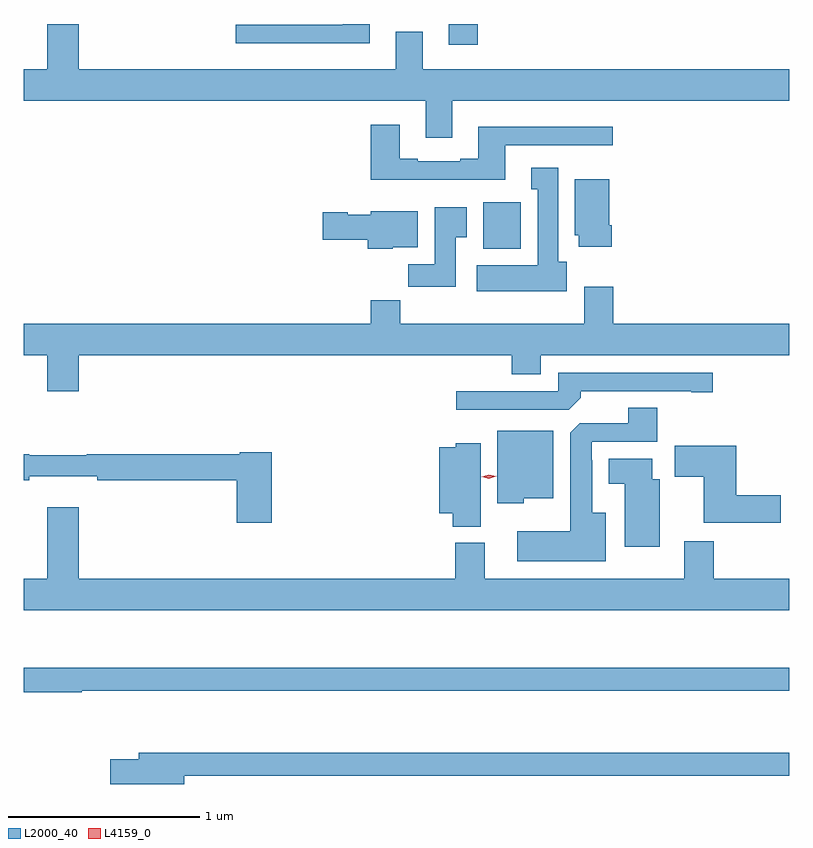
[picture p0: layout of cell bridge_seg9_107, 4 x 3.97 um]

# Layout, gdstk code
import gdstk
lib = gdstk.Library(unit=1e-6, precision=1e-09)
def R(c, l, rs):  # rectangles x0, y0, x1, y1
    for r in rs: c.add(gdstk.rectangle(r[:2], r[2:], *l))
def P(c, l, *ps):  # polygons
    for p in ps: c.add(gdstk.Polygon(p, *l))
L2000_40 = (2000, 40)
L4159_0 = (4159, 0)

bridge_seg9_107 = lib.new_cell('bridge_seg9_107')
R(bridge_seg9_107, L2000_40, [(814.637,1174.334,814.834,1174.576), (814.457,1175.4,814.61,1175.508)])
P(bridge_seg9_107, L2000_40, [(814.045,1175.508),(813.905,1175.508),(813.905,1175.505),(813.345,1175.505),(813.345,1175.408),(814.045,1175.408)],
  [(814.477,1175.108),(816.237,1175.108),(816.237,1175.272),(814.321,1175.272),(814.321,1175.467),(814.181,1175.467),(814.181,1175.272),(812.524,1175.272),(812.524,1175.508),(812.36,1175.508),(812.36,1175.272),(812.237,1175.272),(812.237,1175.108),(814.337,1175.108),(814.337,1174.914),(814.477,1174.914)],
  [(814.753,1174.875),(815.314,1174.875),(815.314,1174.972),(814.613,1174.972),(814.613,1174.804),(814.517,1174.804),(814.517,1174.791),(814.297,1174.791),(814.297,1174.804),(814.201,1174.804),(814.201,1174.981),(814.049,1174.981),(814.049,1174.694),(814.753,1174.694)],
  [(815.074,1174.266),(815.029,1174.266),(815.029,1174.756),(814.889,1174.756),(814.889,1174.643),(814.922,1174.643),(814.922,1174.246),(814.605,1174.246),(814.605,1174.112),(815.074,1174.112)],
  [(815.309,1174.456),(815.296,1174.456),(815.296,1174.696),(815.117,1174.696),(815.117,1174.404),(815.138,1174.404),(815.138,1174.344),(815.309,1174.344)],
  [(814.495,1174.393),(814.552,1174.393),(814.552,1174.549),(814.385,1174.549),(814.385,1174.252),(814.246,1174.252),(814.246,1174.134),(814.495,1174.134)],
  [(814.164,1174.34),(814.297,1174.34),(814.297,1174.528),(814.05,1174.528),(814.05,1174.51),(813.93,1174.51),(813.93,1174.523),(813.798,1174.523),(813.798,1174.381),(814.034,1174.381),(814.034,1174.334),(814.164,1174.334)],
  [(812.524,1173.776),(814.787,1173.776),(814.787,1173.677),(814.939,1173.677),(814.939,1173.776),(816.237,1173.776),(816.237,1173.94),(815.318,1173.94),(815.318,1174.135),(815.165,1174.135),(815.165,1173.94),(814.205,1173.94),(814.205,1174.064),(814.049,1174.064),(814.049,1173.94),(812.237,1173.94),(812.237,1173.776),(812.36,1173.776),(812.36,1173.588),(812.524,1173.588)],
  [(815.147,1173.554),(815.147,1173.588),(815.726,1173.588),(815.726,1173.583),(815.839,1173.583),(815.839,1173.684),(815.031,1173.684),(815.031,1173.588),(814.497,1173.588),(814.497,1173.492),(815.085,1173.492)],
  [(815.278,1172.953),(815.209,1172.953),(815.209,1173.227),(815.205,1173.227),(815.205,1173.324),(815.549,1173.324),(815.549,1173.503),(815.396,1173.503),(815.396,1173.42),(815.142,1173.42),(815.093,1173.371),(815.093,1172.857),(814.815,1172.857),(814.815,1172.699),(815.278,1172.699)],
  [(814.851,1173.029),(815.005,1173.029),(815.005,1173.382),(814.712,1173.382),(814.712,1173.002),(814.851,1173.002)],
  [(814.624,1173.316),(814.494,1173.316),(814.494,1173.295),(814.409,1173.295),(814.409,1172.951),(814.478,1172.951),(814.478,1172.881),(814.624,1172.881)],
  [(816.193,1173.044),(815.96,1173.044),(815.96,1173.304),(815.64,1173.304),(815.64,1173.142),(815.792,1173.142),(815.792,1172.902),(816.193,1172.902)],
  [(813.533,1173.268),(813.366,1173.268),(813.366,1173.26),(812.566,1173.26),(812.566,1173.253),(812.266,1173.253),(812.266,1173.26),(812.237,1173.26),(812.237,1173.124),(812.264,1173.124),(812.264,1173.143),(812.62,1173.143),(812.62,1173.124),(813.35,1173.124),(813.35,1172.901),(813.533,1172.901)],
  [(815.56,1173.127),(815.521,1173.127),(815.521,1173.235),(815.294,1173.235),(815.294,1173.104),(815.378,1173.104),(815.378,1172.775),(815.56,1172.775)],
  [(816.237,1172.608),(815.843,1172.608),(815.843,1172.803),(815.69,1172.803),(815.69,1172.608),(814.645,1172.608),(814.645,1172.796),(814.493,1172.796),(814.493,1172.608),(812.524,1172.608),(812.524,1172.983),(812.36,1172.983),(812.36,1172.608),(812.237,1172.608),(812.237,1172.444),(816.237,1172.444)],
  [(812.54,1172.022),(816.237,1172.022),(816.237,1172.143),(812.237,1172.143),(812.237,1172.014),(812.54,1172.014)],
  [(813.076,1171.578),(816.237,1171.578),(816.237,1171.699),(812.837,1171.699),(812.837,1171.665),(812.688,1171.665),(812.688,1171.535),(813.076,1171.535)])
P(bridge_seg9_107, L4159_0, [(814.668,1173.132),(814.631,1173.142),(814.631,1173.142),(814.631,1173.142),(814.668,1173.152),(814.705,1173.143),(814.705,1173.143),(814.705,1173.143)])

lib.write_gds('bridge_seg9_107.gds')
